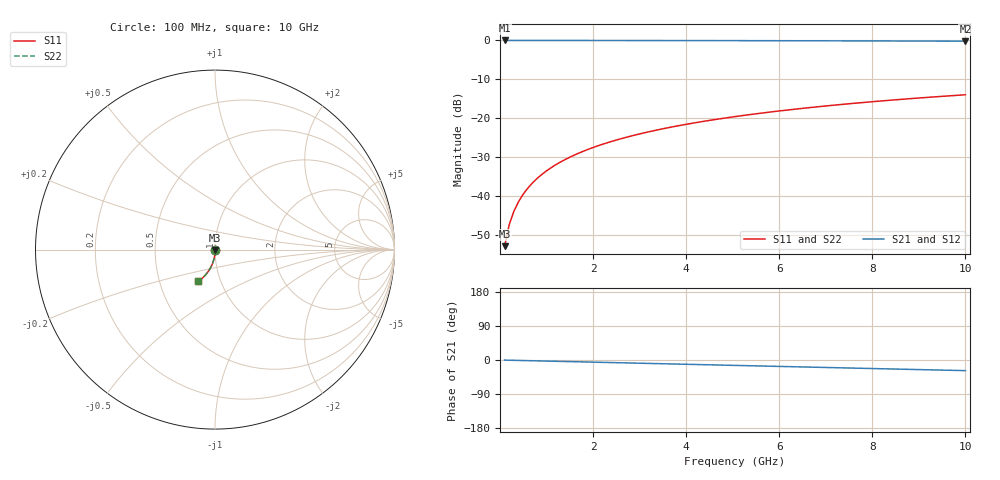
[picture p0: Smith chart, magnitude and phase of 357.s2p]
# Hz S RI R 50.00
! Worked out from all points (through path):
!   100 points, 100 MHz to 10 GHz, reference 50 ohm
!   highest |S21| = -0.01 dB at 100 MHz (marker M1); lowest = -0.2 dB at 10 GHz (marker M2)
!   group delay of S21, straight-line fit = 7.8 ps
!   lowest |S11| = -53.0 dB at 100 MHz (marker M3), VSWR 1.00, Z = 50.1 - j0.21 ohm
!   |S11| at or under -10 dB: start of sweep to end of sweep
!   |S22| runs from -53.0 to -14.0 dB; largest |S21 - S12| = 0
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1e8  0.0008 -0.00209  0.9992 -0.00493  0.9992 -0.00493  0.0008 -0.00209
2e8  0.000771 -0.00419  0.9991 -0.00986  0.9991 -0.00986  0.000771 -0.00419
3e8  0.00072 -0.00628  0.999 -0.0148  0.999 -0.0148  0.00072 -0.00628
4e8  0.000648 -0.00837  0.9989 -0.0197  0.9989 -0.0197  0.000648 -0.00837
5e8  0.000554 -0.0105  0.9988 -0.0246  0.9988 -0.0246  0.000554 -0.0105
6e8  0.00044 -0.0126  0.9986 -0.0296  0.9986 -0.0296  0.00044 -0.0126
7e8  0.000305 -0.0146  0.9984 -0.0345  0.9984 -0.0345  0.000305 -0.0146
8e8  0.000149 -0.0167  0.9982 -0.0394  0.9982 -0.0394  0.000149 -0.0167
9e8  -2.74e-05 -0.0188  0.998 -0.0443  0.998 -0.0443  -2.74e-05 -0.0188
1.1e9  -0.000443 -0.023  0.9974 -0.0542  0.9974 -0.0542  -0.000443 -0.023
1.4e9  -0.00122 -0.0292  0.9963 -0.0689  0.9963 -0.0689  -0.00122 -0.0292
1.8e9  -0.00254 -0.0375  0.9944 -0.0885  0.9944 -0.0885  -0.00254 -0.0375
2.1e9  -0.00375 -0.0437  0.9928 -0.1032  0.9928 -0.1032  -0.00375 -0.0437
2.5e9  -0.00564 -0.0518  0.9901 -0.1227  0.9901 -0.1227  -0.00564 -0.0518
2.9e9  -0.00785 -0.0599  0.987 -0.1421  0.987 -0.1421  -0.00785 -0.0599
3.4e9  -0.0111 -0.0699  0.9825 -0.1663  0.9825 -0.1663  -0.0111 -0.0699
4.2e9  -0.0172 -0.0855  0.9739 -0.2046  0.9739 -0.2046  -0.0172 -0.0855
5.1e9  -0.0255 -0.1023  0.9622 -0.247  0.9622 -0.247  -0.0255 -0.1023
5.9e9  -0.0341 -0.1166  0.9499 -0.284  0.9499 -0.284  -0.0341 -0.1166
6.7e9  -0.0438 -0.1302  0.9361 -0.3202  0.9361 -0.3202  -0.0438 -0.1302
8.4e9  -0.0676 -0.1561  0.9017 -0.3944  0.9017 -0.3944  -0.0676 -0.1561
1e10  -0.0933 -0.1764  0.8636 -0.4602  0.8636 -0.4602  -0.0933 -0.1764
